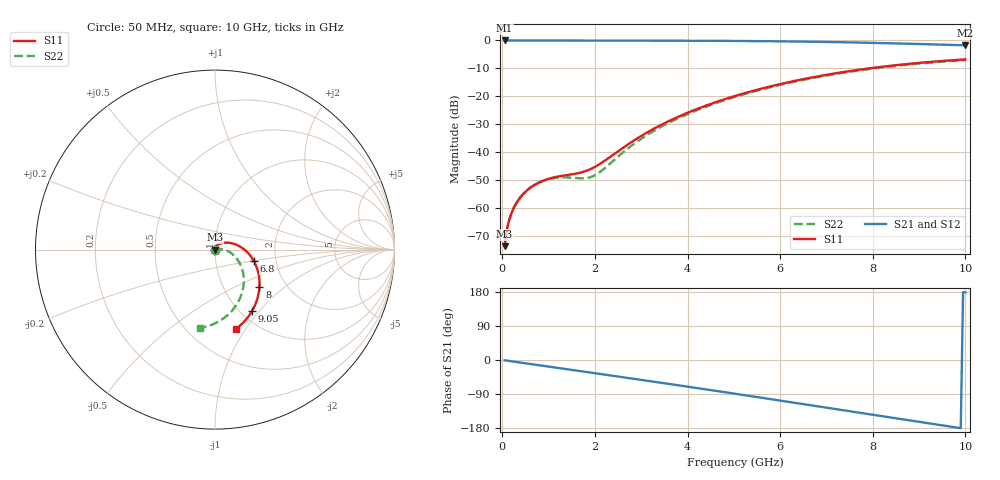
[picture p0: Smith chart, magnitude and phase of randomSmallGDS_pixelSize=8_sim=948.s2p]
! freq	dB(S11)	phase(S11)	dB(S12)	phase(S12)
!  dB(S21)	phase(S21)	dB(S22)	phase(S22)
!S-par simulation data
#  GHz  S  DB  R 50
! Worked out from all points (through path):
!   200 points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, 50 MHz to 10 GHz, reference 50 ohm
!   highest |S21| = 0.00 dB at 50 MHz (marker M1); lowest = -1.7 dB at 10 GHz (marker M2)
!   group delay of S21, straight-line fit = 50.7 ps
!   lowest |S11| = -73.6 dB at 50 MHz (marker M3), VSWR 1.00, Z = 50 - j0.0207 ohm
!   |S11| at or under -10 dB: start of sweep to 7.916 GHz
!   |S22| runs from -73.5 to -7.0 dB; largest |S21 - S12| = 0
!   S11 on the Smith chart (normalised r, x): 50 MHz: 1.00, -0.00; 6.8 GHz: 1.54, -0.21; 8 GHz: 1.47, -0.68; 9.05 GHz: 1.12, -0.92; 10 GHz: 0.81, -0.90
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0.05  -73.60 -82.1  -0.00 -0.9  -0.00 -0.9  -73.49 -80.6
0.1  -67.68 -88.7  -0.00 -1.8  -0.00 -1.8  -67.57 -85.5
0.15  -64.20 -92.2  -0.00 -2.6  -0.00 -2.6  -64.09 -87.2
0.2  -61.74 -94.8  -0.00 -3.5  -0.00 -3.5  -61.63 -88.2
0.35  -57.03 -101.4  -0.01 -6.1  -0.01 -6.1  -56.92 -89.6
0.55  -53.43 -109.7  -0.01 -9.6  -0.01 -9.6  -53.34 -90.4
0.8  -50.79 -120.8  -0.02 -14.0  -0.02 -14.0  -50.77 -90.5
1.05  -49.26 -133.7  -0.02 -18.3  -0.02 -18.3  -49.43 -89.1
1.3  -48.40 -149.7  -0.03 -22.7  -0.03 -22.7  -48.97 -84.7
1.75  -47.01 169.5  -0.04 -30.5  -0.04 -30.5  -49.32 -60.3
2.05  -44.76 137.6  -0.04 -35.7  -0.04 -35.7  -47.75 -29.6
2.8  -36.24 84.3  -0.06 -48.9  -0.06 -48.9  -37.52 5.6
3.4  -30.46 61.3  -0.07 -59.5  -0.07 -59.5  -31.16 5.8
4.15  -24.87 40.4  -0.11 -73.0  -0.11 -73.0  -25.30 -1.6
5.05  -19.75 19.6  -0.18 -89.4  -0.18 -89.4  -20.06 -14.3
5.85  -16.19 2.6  -0.28 -104.3  -0.28 -104.3  -16.46 -27.2
6.7  -13.20 -14.7  -0.46 -120.3  -0.46 -120.3  -13.44 -41.8
6.8  -12.89 -16.7  -0.48 -122.2  -0.48 -122.2  -13.13 -43.6
8  -9.82 -39.9  -0.86 -144.8  -0.86 -144.8  -10.06 -65.0
8.35  -9.12 -46.4  -0.99 -151.4  -0.99 -151.4  -9.36 -71.3
9.05  -7.94 -59.2  -1.29 -164.4  -1.29 -164.4  -8.19 -83.9
10  -6.78 -75.6  -1.73 178.4  -1.73 178.4  -7.04 -100.8
